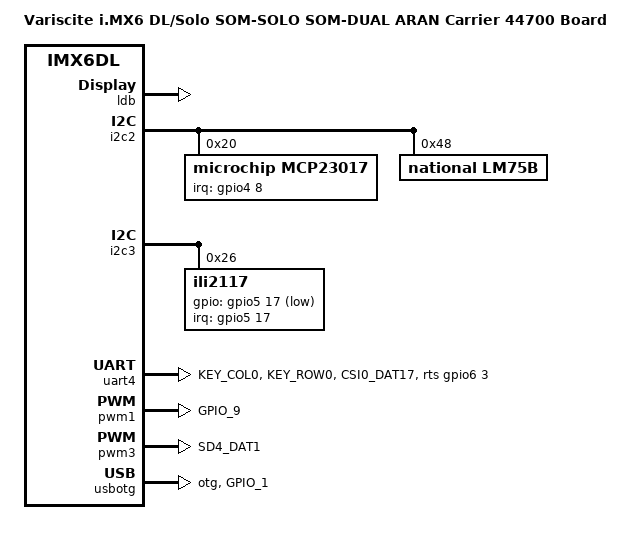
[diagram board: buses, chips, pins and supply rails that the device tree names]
/*
 * Copyright (C) 2018 Aran R&D (1982) Ltd.
 *
 * This program is free software; you can redistribute it and/or modify
 * it under the terms of the GNU General Public License version 2 as
 * published by the Free Software Foundation.
 */

#include "imx6dl-var-som-solo.dtsi"

/ {
	model = "Variscite i.MX6 DL/Solo SOM-SOLO SOM-DUAL ARAN Carrier 44700 Board";
};

/* Display BEGIN */
&ldb {
	status = "okay";

	lvds-channel@0 {
		fsl,data-mapping = "spwg";
		fsl,data-width = <24>;
		crtc = "ipu1-di0";
		primary;
		status = "okay";

		display-timings {
			native-mode = <&timing0>;
			timing0: hsd100pxn1 {
				clock-frequency = <35714000>;
				hactive = <800>;
				vactive = <480>;
				hback-porch = <46>;
				hfront-porch = <16>;
				vback-porch = <23>;
				vfront-porch = <7>;
				hsync-len = <1>;
				vsync-len = <3>;
			};
		};
	};

	lvds-channel@1 {
		status = "disabled";
	};
};

&mxcfb1 {
	interface_pix_fmt = "RGB24";
};
/* Display END */

/* Touch ili2117, Buzzer, IO expander, temperature sensor BEGIN */
&pinctrl_hog {
	fsl,pins = <
		/* touch irq */
		MX6QDL_PAD_DISP0_DAT23__GPIO5_IO17	0x178b0
		/* buzzer */
		MX6QDL_PAD_CSI0_DATA_EN__GPIO5_IO20	0x1b0b1
		/* IO expander irq */
		MX6QDL_PAD_KEY_COL1__GPIO4_IO08	0x178b0
	>;
};

&i2c2 {
	/* IO Expander */
	mcp23017@20 {
        compatible = "microchip,mcp23017";
        gpio-controller;
        #gpio-cells = <2>;
        reg = <0x20>;

        interrupt-parent = <&gpio4>;
        interrupts = <8 IRQ_TYPE_LEVEL_LOW>;
        interrupt-controller;
        #interrupt-cells=<2>;
        microchip,irq-mirror;
	};

	/* temperature sensor */
	lm75b@48 {
        compatible = "national,lm75b";
        reg = <0x48>;
	};
};

&i2c3 {
	/* touch */
	ili2117@26 {
		compatible = "ili2117";
		reg = <0x26>;
		gpios = <&gpio5 17 GPIO_ACTIVE_LOW>;
		interrupt-parent = <&gpio5>;
		interrupts = <17 IRQ_TYPE_EDGE_RISING>;
	};
};
/* Touch ili2117, Buzzer, IO expander, temperature sensor END */

/* UARTs and PWMs BEGIN */
&iomuxc {
	imx6qdl-var-som-mx6 {
		pinctrl_uart4_1: uart4grp-1 {	/* RX/TX, RTS gpio */
			fsl,pins = <
                MX6QDL_PAD_KEY_COL0__UART4_TX_DATA	0x1b0b1
                MX6QDL_PAD_KEY_ROW0__UART4_RX_DATA	0x1b0b1
				MX6QDL_PAD_CSI0_DAT17__GPIO6_IO03	0x1b0b1
			>;
		};

        pinctrl_pwm1_1: pwm1grp {
			fsl,pins = <
				MX6QDL_PAD_GPIO_9__PWM1_OUT	0x1b0b1
			>;
		};

        pinctrl_pwm3_1: pwm3grp {
			fsl,pins = <
				MX6QDL_PAD_SD4_DAT1__PWM3_OUT	0x1b0b1
			>;
		};
    };
};

&uart4 {
	pinctrl-names = "default";
	pinctrl-0 = <&pinctrl_uart4_1>;
	rts-gpios = <&gpio6 3 GPIO_ACTIVE_HIGH>;
	rs485-rts-active-high;
	linux,rs485-enabled-at-boot-time;
	status = "okay";
};

&pwm1 {
	pinctrl-names = "default";
	pinctrl-0 = <&pinctrl_pwm1_1>;
	status = "okay";
};

&pwm3 {
	pinctrl-names = "default";
	pinctrl-0 = <&pinctrl_pwm3_1>;
	status = "okay";
};
/* UARTs and PWMs END */

/* Misc settings BEGIN */
&iomuxc {
	imx6qdl-var-som-mx6 {
		pinctrl_usbotg_1: usbotggrp-1 {
			fsl,pins = <
				MX6QDL_PAD_GPIO_1__USB_OTG_ID		0x17059
			>;
		};
	};
};

&reg_usb_h1_vbus {
	gpio = <&gpio4 15 0>;
	enable-active-high;
};

&reg_usb_otg_vbus {
	gpio = <&gpio3 22 0>;
	enable-active-high;
};

&usbotg {
	pinctrl-0 = <&pinctrl_usbotg_1>;
	dr_mode = "otg"; /* Use "host" if you would like to use the USB0 type A connector */
};

&usdhc2 {	/* uSDHC2, MMC/SD card */
	wp-gpios = <>;
	status = "disabled";
};
/* Misc settings END */

/* Disable unused devices BEGIN */
&uart2 {
	status = "disabled";
};

&can1 {
	status = "disabled";
};

/ {
	sound {
		status = "disabled";
	};

	sound-hdmi {
		status = "disabled";
	};

	v4l2_cap_0 {
		status = "disabled";
	};

	v4l2_out {
		status = "disabled";
	};
};

&hdmi_audio {
	status = "disabled";
};

&hdmi_cec {
	status = "disabled";
};

&hdmi_core {
	status = "disabled";
};

&hdmi_video {
	status = "disabled";
};

&i2c1 {
	status = "disabled";
};

&mipi_csi {
	status = "disabled";
};

&pcie {
	status = "disabled";
};

&ssi2 {
	status = "disabled";
};

&audmux {
    status = "disabled";
};

&dcic1 {
	status = "disabled";
};

&dcic2 {
	status = "disabled";
};

&snvs_poweroff {
	status = "disabled";
};

/* Disable unused devices END */
